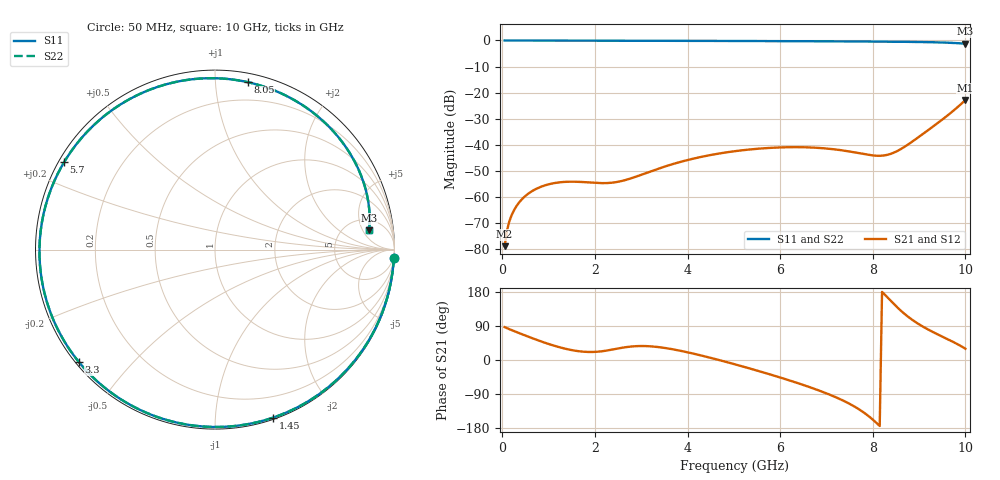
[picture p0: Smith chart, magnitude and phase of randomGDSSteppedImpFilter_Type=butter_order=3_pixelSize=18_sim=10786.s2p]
! freq	dB(S11)	phase(S11)	dB(S12)	phase(S12)
!  dB(S21)	phase(S21)	dB(S22)	phase(S22)
!S-par simulation data
#  GHz  S  DB  R 50
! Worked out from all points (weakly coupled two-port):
!   200 points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, 50 MHz to 10 GHz, reference 50 ohm
!   highest |S21| = -22.82 dB at 10 GHz (marker M1); lowest = -78.8 dB at 50 MHz (marker M2)
!   lowest |S11| = -1.3 dB at 10 GHz (marker M3), VSWR 13.88, Z = 396 + j342 ohm
!   |S11| at or under -10 dB: nowhere
!   |S22| runs from -1.3 to 0.0 dB; largest |S21 - S12| = 0
!   S11 on the Smith chart (normalised r, x): 50 MHz: 2, -42; 1.45 GHz: 0.01, -1.40; 3.3 GHz: 0.01, -0.36; 5.7 GHz: 0.02, +0.27; 8.05 GHz: 0.06, +1.21; 10 GHz: 8, +7
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0.05  -0.01 -2.7  -78.80 86.9  -78.80 86.9  -0.01 -2.7
0.1  -0.03 -5.3  -72.86 84.0  -72.86 84.0  -0.03 -5.3
0.2  -0.03 -10.4  -67.00 79.0  -67.00 79.0  -0.03 -10.4
0.3  -0.03 -15.5  -63.62 74.1  -63.62 74.1  -0.03 -15.5
0.45  -0.04 -23.2  -60.37 66.9  -60.37 66.9  -0.04 -23.2
0.9  -0.06 -45.5  -55.63 46.4  -55.63 46.4  -0.06 -45.5
1.45  -0.08 -71.0  -54.11 27.3  -54.11 27.3  -0.08 -71.0
1.75  -0.10 -83.9  -54.26 21.9  -54.26 21.9  -0.10 -83.9
2.45  -0.12 -111.3  -54.30 29.3  -54.30 29.3  -0.12 -111.3
3.3  -0.14 -140.3  -49.55 35.0  -49.55 35.0  -0.14 -140.3
3.4  -0.15 -143.5  -48.94 33.6  -48.94 33.6  -0.15 -143.5
4.2  -0.17 -167.7  -44.97 14.7  -44.97 14.7  -0.17 -167.7
5.05  -0.21 168.2  -42.36 -12.3  -42.36 -12.3  -0.21 168.1
5.7  -0.25 150.0  -41.25 -35.1  -41.25 -35.1  -0.25 149.9
6.7  -0.31 121.2  -41.03 -74.3  -41.03 -74.3  -0.31 121.2
7.4  -0.37 100.0  -42.27 -109.4  -42.27 -109.4  -0.37 99.9
8.05  -0.44 79.0  -44.13 -162.6  -44.13 -162.6  -0.44 78.9
8.35  -0.48 68.9  -43.65 160.9  -43.65 160.9  -0.48 68.8
8.65  -0.53 58.4  -41.15 125.4  -41.15 125.4  -0.53 58.4
9.3  -0.70 34.6  -33.00 73.7  -33.00 73.7  -0.70 34.5
9.65  -0.89 21.1  -28.24 52.8  -28.24 52.8  -0.89 20.9
10  -1.25 7.2  -22.82 29.7  -22.82 29.7  -1.26 7.1
